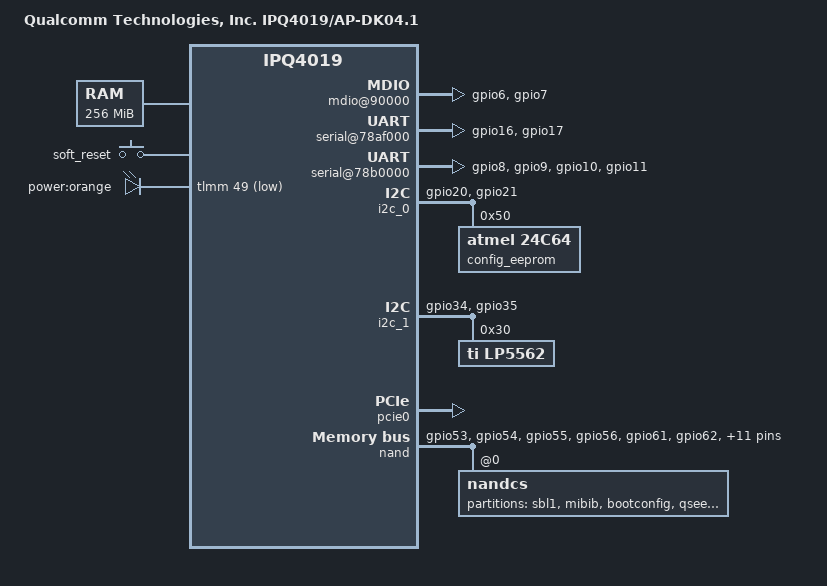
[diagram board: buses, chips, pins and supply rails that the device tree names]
/* Copyright (c) 2015 - 2016, The Linux Foundation. All rights reserved.
 *
 * Permission to use, copy, modify, and/or distribute this software for any
 * purpose with or without fee is hereby granted, provided that the above
 * copyright notice and this permission notice appear in all copies.
 *
 * THE SOFTWARE IS PROVIDED "AS IS" AND THE AUTHOR DISCLAIMS ALL WARRANTIES
 * WITH REGARD TO THIS SOFTWARE INCLUDING ALL IMPLIED WARRANTIES OF
 * MERCHANTABILITY AND FITNESS. IN NO EVENT SHALL THE AUTHOR BE LIABLE FOR
 * ANY SPECIAL, DIRECT, INDIRECT, OR CONSEQUENTIAL DAMAGES OR ANY DAMAGES
 * WHATSOEVER RESULTING FROM LOSS OF USE, DATA OR PROFITS, WHETHER IN AN
 * ACTION OF CONTRACT, NEGLIGENCE OR OTHER TORTIOUS ACTION, ARISING OUT OF
 * OR IN CONNECTION WITH THE USE OR PERFORMANCE OF THIS SOFTWARE.
 *
 */

#include "qcom-ipq4019.dtsi"
#include "qcom-ipq4019-mhi.dtsi"
#include <dt-bindings/input/input.h>
#include <dt-bindings/gpio/gpio.h>

/ {
	model = "Qualcomm Technologies, Inc. IPQ4019/AP-DK04.1";
	compatible = "qcom,ipq4019";

	memory {
		device_type = "memory";
		reg = <0x80000000 0x10000000>; /* 256MB */
		linux,usable-memory = <0x80000000 0xFF00000>;
	};

	reserved-memory {
		#address-cells = <1>;
		#size-cells = <1>;
		ranges;
		rsvd1@87000000 {
			/* Reserved for other subsystem */
			reg = <0x87000000 0x500000>;
			no-map;
		};
		wifi_dump@87500000 {
			reg = <0x87500000 0x600000>;
			no-map;
		};

		rsvd2@87B00000 {
			/* Reserved for other subsystem */
			reg = <0x87B00000 0x500000>;
			no-map;
		};

		pstore: pstore@0x8FF00000 {
			reg = <0x8FF00000 0x100000>;
		};
	};

	ramoops {
		compatible = "ramoops";
		memory-region = <&pstore>;
		record-size = <0x40000>;
		console-size = <0>;
		ftrace-size = <0>;
		pmsg-size = <0>;
		ecc-size = <0>;
	};

	aliases {
	};

	soc {
		pinctrl@0x01000000 {
			serial_0_pins: serial0_pinmux {
				mux {
					pins = "gpio16", "gpio17";
					function = "blsp_uart0";
					bias-disable;
				};
			};

			serial_1_pins: serial1_pinmux {
				mux {
					pins = "gpio8", "gpio9",
						"gpio10", "gpio11";
					function = "blsp_uart1";
					bias-disable;
				};
			};

			i2c_0_pins: i2c_0_pinmux {
				mux {
					pins = "gpio20", "gpio21";
					function = "blsp_i2c0";
					bias-disable;
				};
			};

			i2c_1_pins: i2c_1_pinmux {
				mux {
					pins = "gpio34", "gpio35";
					function = "blsp_i2c1";
					bias-disable;
				};
			};

			i2c_2_pins: i2c_2_pinmux {
				mux {
					pins = "gpio10", "gpio11";
					function = "blsp_i2c0";
					bias-disable;
				};
			};

			mdio_pins: mdio_pinmux {
				mux_1 {
					pins = "gpio6";
					function = "mdio0";
					bias-pull-up;
				};
				mux_2 {
					pins = "gpio7";
					function = "mdc";
					bias-pull-up;
				};
			};

			nand_pins: nand_pins {

				mux_1 {
					pins = "gpio53", "gpio54",
						"gpio55", "gpio56", "gpio61",
						"gpio62", "gpio63", "gpio69";
					function = "qpic_pad";
					bias-disable;
				};

				mux_2 {
					pins = "gpio67";
					function = "qpic_pad0";
					bias-disable;
				};

				mux_3 {
					pins = "gpio64";
					function = "qpic_pad1";
					bias-disable;
				};

				mux_4 {
					pins = "gpio65";
					function = "qpic_pad2";
					bias-disable;
				};

				mux_5 {
					pins = "gpio66";
					function = "qpic_pad3";
					bias-disable;
				};

				mux_6 {
					pins = "gpio57";
					function = "qpic_pad4";
					bias-disable;
				};

				mux_7 {
					pins = "gpio58";
					function = "qpic_pad5";
					bias-disable;
				};

				mux_8 {
					pins = "gpio59";
					function = "qpic_pad6";
					bias-disable;
				};

				mux_9 {
					pins = "gpio60";
					function = "qpic_pad7";
					bias-disable;
				};

				mux_10 {
					pins = "gpio68";
					function = "qpic_pad8";
					bias-disable;
				};

				pullups {
					pins = "gpio53", "gpio58",
						"gpio59";
					bias-pull-up;
				};

				pulldowns {
					pins = "gpio54", "gpio55", "gpio56",
						"gpio57", "gpio60", "gpio61",
						"gpio62", "gpio63", "gpio64",
						"gpio65", "gpio66", "gpio67",
						"gpio68", "gpio69";
					bias-pull-down;
				};
			};
		};

		mdio@90000 {
			status = "ok";
			pinctrl-0 = <&mdio_pins>;
			pinctrl-names = "default";
			phy-reset-gpio = <&tlmm 47 0>;
			bias-disable;
		};

		serial@78af000 {
			pinctrl-0 = <&serial_0_pins>;
			pinctrl-names = "default";
			status = "ok";
		};

		serial@78b0000 {
			pinctrl-0 = <&serial_1_pins>;
			pinctrl-names = "default";
			status = "ok";
		};

		i2c_0: i2c@78b7000 { /* BLSP1 QUP2 */
			pinctrl-0 = <&i2c_0_pins>;
			pinctrl-names = "default";
			status = "ok";

			config_eeprom: at24@50 {
				compatible = "atmel,24c64";
				pagesize = <32>;
				reg = <0x50>;
			};
		};

		board-data {
			compatible = "meraki,meraki-config";
			i2c-eeprom = <&config_eeprom>;
			gpios = <>;
		};

		i2c_1: i2c@78b8000 {
			pinctrl-0 = <&i2c_1_pins>;
			pinctrl-names = "default";
			status = "ok";

			lp5562 {
				compatible = "ti,lp5562";
				clock-mode = /bits/8 <2>;
				reg = <0x30>;

				chan0 {
					 chan-name = "tricolor0:red";
					 led-cur = /bits/ 8 <0x20>;
					 max-cur = /bits/ 8 <0x60>;
				};

				chan1 {
					 chan-name = "tricolor0:green";
					 led-cur = /bits/ 8 <0x20>;
					 max-cur = /bits/ 8 <0x60>;
				};

				chan2 {
					 chan-name = "tricolor0:blue";
					 led-cur = /bits/ 8 <0x20>;
					 max-cur = /bits/ 8 <0x60>;
				};

				chan3 {
					 chan-name = "power:white";
					 led-cur = /bits/ 8 <0x20>;
					 max-cur = /bits/ 8 <0x60>;
				};
			};
		};


		pcie0: pci@40000000 {
			status = "ok";
			perst-gpio = <&tlmm 38 0x1>;
			wake-gpio = <&tlmm 40 0>;
			clkreq-gpio = <&tlmm 39 0>;
		};

		ess-switch@c000000 {
			switch_mac_mode = <0x0>; /* mac mode for RGMII RMII */
			switch_initvlas = <
				0x0007c 0x54 /* PORT0_STATUS */
			>;
			led_source@0 {
				led = <0x3>;     /*led number */
				source = <0x1>;  /*source id 1 */
				mode = "normal"; /*on,off,blink,normal */
				speed = "all";   /*10M,100M,1000M,all */
				freq = "auto";   /*2Hz,4Hz,8Hz,auto*/
			};
			led_source@1 {
				led = <0x4>;     /*led number */
				source = <0x4>;  /*source id 4 */
				mode = "normal"; /*on,off,blink,normal */
				speed = "all";   /*10M,100M,1000M,all */
				freq = "auto";   /*2Hz,4Hz,8Hz,auto*/
			};
			led_source@2 {
				led = <0x5>;     /*led number */
				source = <0x7>;  /*source id 7 */
				mode = "normal"; /*on,off,blink,normal */
				speed = "all";   /*10M,100M,1000M,all */
				freq = "auto";   /*2Hz,4Hz,8Hz,auto*/
			};
			led_source@3 {
				led = <0x6>;     /*led number */
				source = <0xa>;  /*source id 10 */
				mode = "normal"; /*on,off,blink,normal */
				speed = "all";   /*10M,100M,1000M,all */
				freq = "auto";   /*2Hz,4Hz,8Hz,auto*/
			};
			led_source@4 {
				led = <0x7>;     /*led number */
				source = <0xd>;  /*source id 13 */
				mode = "normal"; /*on,off,blink,normal */
				speed = "all";   /*10M,100M,1000M,all */
				freq = "auto";   /*2Hz,4Hz,8Hz,auto*/
			};
		};

		vccq_sd0: regulator@0 {
			compatible = "qcom,regulator-ipq40xx";
			regulator-name = "SD0 VccQ";
			regulator-min-microvolt = <1800000>;
			regulator-max-microvolt = <3000000>;
			states = <3000000 0x3
				1800000 0x1>;
			reg = <0x01948000 0x4>;
			mask = <0x3>;
		};

		tcsr: tcsr@194b000 {
			status = "disabled";
		};

		usb3_ss_phy: ssphy@0 {
			status = "disabled";
		};

		usb3_hs_phy: hsphy@a6000 {
			status = "disabled";
		};

		usb2_hs_phy: hsphy@a8000 {
			status = "disabled";
		};

		usb3: usb3@8a00000 {
			status = "disabled";
		};

		usb2: usb2@6000000 {
			status = "disabled";
		};

		qpic_bam: dma@7984000{
			status = "ok";
		};

		nand: qpic-nand@79b0000 {
			pinctrl-0 = <&nand_pins>;
			pinctrl-names = "default";
			status = "ok";

			#address-cells = <1>;
			#size-cells = <1>;

			/*
			 * QCA Partitions
			 */

			nandcs@0 {
				partition@0 {
					label = "sbl1";
					reg = <0x00000000 0x100000>;
				};

				partition@1 {
					label = "mibib";
					reg = <0x00100000 0x100000>;
				};

				partition@2 {
					label = "bootconfig";
					reg = <0x00200000 0x100000>;
				};

				partition@3 {
					label = "qsee";
					reg = <0x00300000 0x100000>;
				};

				partition@5 {
					label = "qsee_alt";
					reg = <0x00400000 0x100000>;
				};

				partition@6 {
					label = "cdt";
					reg = <0x00500000 0x80000>;
				};

				partition@7 {
					label = "cdt_alt";
					reg = <0x00580000 0x80000>;
				};

				partition@8 {
					label = "ddrparams";
					reg = <0x00600000 0x80000>;
				};

				partition@9 {
					label = "u-boot";
					reg = <0x00700000 0x200000>;
				};

				partition@10 {
					label = "u-boot-backup";
					reg = <0x00900000 0x200000>;
				};

				partition@11 {
					label = "ART";
					reg = <0x00B00000 0x80000>;
				};

				/*
				 * Meraki Partitions
				 */

				partition@12 {
					label = "ubi";
					reg = <0x00C00000 0x7000000>;
				};
			};
		};

		gpio_keys {
			compatible = "gpio-keys";
			poll-interval = <20>;

			button@1 {
				label = "soft_reset";
				linux,code = <KEY_RESTART>;
				linux,input-type = <0>;
				debounce-interval = <60>;
			};
		};

		leds {
			compatible = "gpio-leds";
			orange {
				label = "power:orange";
				gpios = <&tlmm 49 GPIO_ACTIVE_LOW>;
				default-state = "on";
			};
		};

		qfprom {
			compatible = "qcom,qfprom-sec";
		};
	};
};
